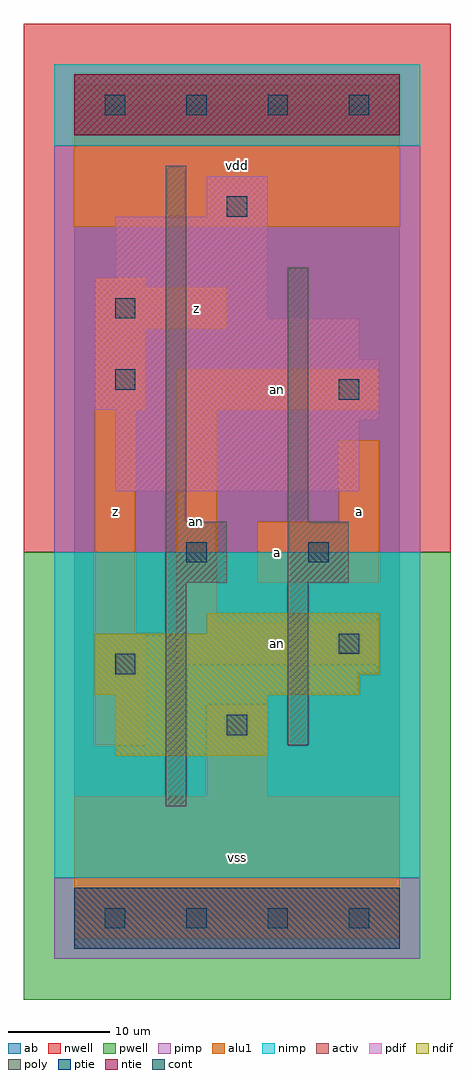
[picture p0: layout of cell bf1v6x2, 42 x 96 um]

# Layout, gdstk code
import gdstk
lib = gdstk.Library(unit=1e-6, precision=1e-09)
def R(c, l, rs):  # rectangles x0, y0, x1, y1
    for r in rs: c.add(gdstk.rectangle(r[:2], r[2:], *l))
def A(c, l, x, y, w, h, nx, ny, dx, dy):  # array of equal rectangles
    R(c, l, [(x+i*dx, y+j*dy, x+i*dx+w, y+j*dy+h) for i in range(nx) for j in range(ny)])
ndif = (3, 0)
pdif = (4, 0)
ntie = (5, 0)
ptie = (6, 0)
cont = (25, 0)
pwell = (41, 0)
nwell = (42, 0)
activ = (43, 0)
pimp = (44, 0)
nimp = (45, 0)
poly = (46, 0)
alu1 = (49, 0)
ab = (63, 0)

bf1v6x2 = lib.new_cell('bf1v6x2')
R(bf1v6x2, ndif, [(4,16,19,22), (2,22,28,24), (2,24,30,28), (13,28,30,30)])
R(bf1v6x2, pdif, [(4,42,28,49), (4,49,30,50), (2,50,30,55), (2,55,28,59), (2,59,19,63), (4,63,19,69), (13,69,19,73)])
R(bf1v6x2, ntie, [(0,77,32,83)])
R(bf1v6x2, ptie, [(0,-3,32,3)])
A(bf1v6x2, cont, 3, -1, 2, 2, 4, 2, 8, 80)
R(bf1v6x2, cont, [(15,18,17,20), (4,24,6,26), (26,26,28,28), (11,35,13,37), (23,35,25,37), (26,51,28,53), (4,52,6,54), (4,59,6,61), (15,69,17,71)])
R(bf1v6x2, pwell, [(-5,-8,37,36)])
R(bf1v6x2, nwell, [(-5,36,37,88)])
R(bf1v6x2, activ, [(0,-3,32,3), (4,16,19,22), (2,22,28,24), (2,24,30,28), (13,28,30,30), (4,42,28,49), (4,49,30,50), (2,50,30,55), (2,55,28,59), (2,59,19,63), (4,63,19,69), (13,69,19,73), (0,77,32,83)])
R(bf1v6x2, pimp, [(-2,-4,34,4), (-2,36,34,76)])
R(bf1v6x2, nimp, [(-2,4,34,36), (-2,76,34,84)])
R(bf1v6x2, poly, [(9,11,11,33), (21,17,23,33), (9,33,15,39), (21,33,27,39), (9,39,11,74), (21,39,23,64)])
R(bf1v6x2, alu1, [(0,-2,32,12), (13,12,19,21), (2,17,7,28), (10,25,30,29), (2,28,6,50), (10,29,14,50), (18,33,30,39), (26,39,30,47), (2,50,7,58), (10,50,30,54), (2,58,15,62), (2,62,7,63), (0,68,32,82)])
R(bf1v6x2, ab, [(0,0,32,80)])
bf1v6x2.add(gdstk.Label('an', (12,39), layer=49, texttype=0))
bf1v6x2.add(gdstk.Label('an', (20,27), layer=49, texttype=0))
bf1v6x2.add(gdstk.Label('an', (20,52), layer=49, texttype=0))
bf1v6x2.add(gdstk.Label('z', (4,40), layer=49, texttype=0))
bf1v6x2.add(gdstk.Label('vss', (16,6), layer=49, texttype=0))
bf1v6x2.add(gdstk.Label('z', (12,60), layer=49, texttype=0))
bf1v6x2.add(gdstk.Label('vdd', (16,74), layer=49, texttype=0))
bf1v6x2.add(gdstk.Label('a', (20,36), layer=49, texttype=0))
bf1v6x2.add(gdstk.Label('a', (28,40), layer=49, texttype=0))

lib.write_gds('bf1v6x2.gds')
